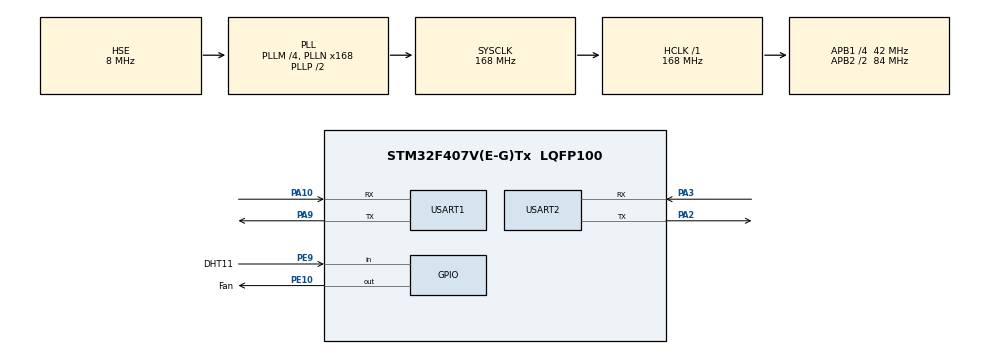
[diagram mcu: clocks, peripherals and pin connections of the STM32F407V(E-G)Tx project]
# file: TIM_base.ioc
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Dma.Request0=USART1_TX
Dma.Request1=USART2_TX
Dma.USART1_TX.0.Direction=DMA_MEMORY_TO_PERIPH
Dma.USART1_TX.0.FIFOMode=DMA_FIFOMODE_DISABLE
Dma.USART1_TX.0.Instance=DMA2_Stream7
Dma.USART1_TX.0.MemDataAlignment=DMA_MDATAALIGN_BYTE
Dma.USART1_TX.0.MemInc=DMA_MINC_ENABLE
Dma.USART1_TX.0.Mode=DMA_NORMAL
Dma.USART1_TX.0.PeriphDataAlignment=DMA_PDATAALIGN_BYTE
Dma.USART1_TX.0.PeriphInc=DMA_PINC_DISABLE
Dma.USART1_TX.0.Priority=DMA_PRIORITY_LOW
Dma.USART2_TX.1.Direction=DMA_MEMORY_TO_PERIPH
Dma.USART2_TX.1.FIFOMode=DMA_FIFOMODE_DISABLE
Dma.USART2_TX.1.Instance=DMA1_Stream6
Dma.USART2_TX.1.MemDataAlignment=DMA_MDATAALIGN_BYTE
Dma.USART2_TX.1.MemInc=DMA_MINC_ENABLE
Dma.USART2_TX.1.Mode=DMA_NORMAL
Dma.USART2_TX.1.PeriphDataAlignment=DMA_PDATAALIGN_BYTE
Dma.USART2_TX.1.PeriphInc=DMA_PINC_DISABLE
Dma.USART2_TX.1.Priority=DMA_PRIORITY_LOW
FREERTOS.BinarySemaphores01=uart1TxSem,Dynamic,NULL,Available;uart2TxSem,Dynamic,NULL,Available
FREERTOS.Tasks01=defaultTask,24,128,StartDefaultTask,Default,NULL,Dynamic,NULL,NULL;dht11Task,24,128,StartDht11Task,Default,NULL,Dynamic,NULL,NULL;fanTask,24,128,StartFanTask,Default,NULL,Dynamic,NULL,NULL
Mcu.Family=STM32F4
Mcu.Name=STM32F407V(E-G)Tx
Mcu.Package=LQFP100
NVIC.DMA1_Stream6_IRQn=true\:5\:0\:false\:false\:true\:true\:false\:true\:true
NVIC.DMA2_Stream7_IRQn=true\:5\:0\:false\:false\:true\:true\:false\:true\:true
NVIC.PriorityGroup=NVIC_PRIORITYGROUP_4
NVIC.TIM6_DAC_IRQn=true\:15\:0\:false\:false\:true\:false\:false\:true\:true
NVIC.TimeBase=TIM6_DAC_IRQn
NVIC.TimeBaseIP=TIM6
NVIC.USART1_IRQn=true\:5\:0\:false\:false\:true\:true\:true\:true\:true
NVIC.USART2_IRQn=true\:5\:0\:false\:false\:true\:true\:true\:true\:true
PA10.Mode=Asynchronous
PA10.Signal=USART1_RX
PA13.Mode=Serial_Wire
PA13.Signal=SYS_JTMS-SWDIO
PA14.Mode=Serial_Wire
PA14.Signal=SYS_JTCK-SWCLK
PA2.Mode=Asynchronous
PA2.Signal=USART2_TX
PA3.Mode=Asynchronous
PA3.Signal=USART2_RX
PA9.Mode=Asynchronous
PA9.Signal=USART1_TX
PE10.GPIO_Label=Fan
PE10.GPIO_Speed=GPIO_SPEED_FREQ_HIGH
PE10.Signal=GPIO_Output
PE9.GPIO_Label=DHT11
PE9.GPIO_PuPd=GPIO_PULLUP
PE9.Signal=GPIO_Input
PH0-OSC_IN.Mode=HSE-External-Oscillator
PH0-OSC_IN.Signal=RCC_OSC_IN
PH1-OSC_OUT.Mode=HSE-External-Oscillator
PH1-OSC_OUT.Signal=RCC_OSC_OUT
ProjectManager.HeapSize=0x200
ProjectManager.StackSize=0x400
ProjectManager.TargetToolchain=MDK-ARM V5.32
RCC.48MHZClocksFreq_Value=84000000
RCC.AHBFreq_Value=168000000
RCC.APB1CLKDivider=RCC_HCLK_DIV4
RCC.APB1Freq_Value=42000000
RCC.APB1TimFreq_Value=84000000
RCC.APB2CLKDivider=RCC_HCLK_DIV2
RCC.APB2Freq_Value=84000000
RCC.APB2TimFreq_Value=168000000
RCC.CortexFreq_Value=168000000
RCC.HCLKFreq_Value=168000000
RCC.HSE_VALUE=8000000
RCC.HSI_VALUE=16000000
RCC.LSE_VALUE=32768
RCC.PLLM=4
RCC.PLLN=168
RCC.PLLSourceVirtual=RCC_PLLSOURCE_HSE
RCC.SYSCLKFreq_VALUE=168000000
RCC.SYSCLKSource=RCC_SYSCLKSOURCE_PLLCLK
RCC.VCOOutputFreq_Value=336000000
TIM7.AutoReloadPreload=TIM_AUTORELOAD_PRELOAD_ENABLE
TIM7.Period=65535-1
TIM7.Prescaler=84-1
USART1.VirtualMode=VM_ASYNC
USART2.VirtualMode=VM_ASYNC
VP_FREERTOS_VS_CMSIS_V2.Mode=CMSIS_V2
VP_SYS_VS_tim6.Mode=TIM6
VP_TIM7_VS_ClockSourceINT.Mode=Enable_Timer
board=custom

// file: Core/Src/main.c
/* USER CODE BEGIN Header */
/**
  ******************************************************************************
  * @file           : main.c
  * @brief          : Main program body
  ******************************************************************************
  * @attention
  *
  * Copyright (c) 2026 STMicroelectronics.
  * All rights reserved.
  *
  * This software is licensed under terms that can be found in the LICENSE file
  * in the root directory of this software component.
  * If no LICENSE file comes with this software, it is provided AS-IS.
  *
  ******************************************************************************
  */
/* USER CODE END Header */
#include "main.h"
#include "cmsis_os.h"
#include "dma.h"
#include "tim.h"
#include "usart.h"
#include "gpio.h"

/* USER CODE BEGIN Includes */
#include <string.h>
#include <stdio.h>
#include "DHT11.h"
#include "Fan.h"
#include "print.h"
#include "protocol.h"
/* USER CODE END Includes */

/* USER CODE BEGIN PV */
extern osSemaphoreId_t uart1TxSemHandle;
extern osSemaphoreId_t uart2TxSemHandle;
uint8_t rx_byte;
static uint8_t rx_step = 0;
static uint8_t cmd_val = 0;
Fan_st Fan_state=fan_off;
/* USER CODE END PV */

void SystemClock_Config(void);
void MX_FREERTOS_Init(void);

/* USER CODE BEGIN 0 */
void Process_ESP32_Command(uint8_t data) {
    switch(rx_step) {
        case 0:
            if(data == 0x55) rx_step = 1;
            break;

        case 1:
            if(data == 0xAA) rx_step = 2;
            else rx_step = 0;
            break;

        case 2:
            cmd_val = data;
            rx_step = 3;
            break;

        case 3:
            if(data == 0xFF) {

                if(cmd_val == 0x01) {
                    Fan_On();
                }
                else if(cmd_val == 0x00) {
                    Fan_Off();
                }
            }
            rx_step = 0;
            break;
    }
}
/* USER CODE END 0 */

int main(void)
{

  /* MCU Configuration--------------------------------------------------------*/

  /* Reset of all peripherals, Initializes the Flash interface and the Systick. */
  HAL_Init();

  /* Configure the system clock */
  SystemClock_Config();

  /* Initialize all configured peripherals */
  MX_GPIO_Init();
  MX_DMA_Init();
  MX_TIM7_Init();
  MX_USART1_UART_Init();
  MX_USART2_UART_Init();
  /* USER CODE BEGIN 2 */
	HAL_TIM_Base_Start(&htim7);
	Fan_Off();
	HAL_UART_Receive_IT(&huart2, &rx_byte, 1);
  /* USER CODE END 2 */

  /* Init scheduler */
  osKernelInitialize();  /* Call init function for freertos objects (in cmsis_os2.c) */
  MX_FREERTOS_Init();

  /* Start scheduler */
  osKernelStart();

  /* We should never get here as control is now taken by the scheduler */

  /* Infinite loop */
  while (1)
  {

  }
}

void SystemClock_Config(void)
{
  RCC_OscInitTypeDef RCC_OscInitStruct = {0};
  RCC_ClkInitTypeDef RCC_ClkInitStruct = {0};

  /** Configure the main internal regulator output voltage
  */
  __HAL_RCC_PWR_CLK_ENABLE();
  __HAL_PWR_VOLTAGESCALING_CONFIG(PWR_REGULATOR_VOLTAGE_SCALE1);

  /** Initializes the RCC Oscillators according to the specified parameters
  * in the RCC_OscInitTypeDef structure.
  */
  RCC_OscInitStruct.OscillatorType = RCC_OSCILLATORTYPE_HSE;
  RCC_OscInitStruct.HSEState = RCC_HSE_ON;
  RCC_OscInitStruct.PLL.PLLState = RCC_PLL_ON;
  RCC_OscInitStruct.PLL.PLLSource = RCC_PLLSOURCE_HSE;
  RCC_OscInitStruct.PLL.PLLM = 4;
  RCC_OscInitStruct.PLL.PLLN = 168;
  RCC_OscInitStruct.PLL.PLLP = RCC_PLLP_DIV2;
  RCC_OscInitStruct.PLL.PLLQ = 4;
  if (HAL_RCC_OscConfig(&RCC_OscInitStruct) != HAL_OK)
  {
    Error_Handler();
  }

  /** Initializes the CPU, AHB and APB buses clocks
  */
  RCC_ClkInitStruct.ClockType = RCC_CLOCKTYPE_HCLK|RCC_CLOCKTYPE_SYSCLK
                              |RCC_CLOCKTYPE_PCLK1|RCC_CLOCKTYPE_PCLK2;
  RCC_ClkInitStruct.SYSCLKSource = RCC_SYSCLKSOURCE_PLLCLK;
  RCC_ClkInitStruct.AHBCLKDivider = RCC_SYSCLK_DIV1;
  RCC_ClkInitStruct.APB1CLKDivider = RCC_HCLK_DIV4;
  RCC_ClkInitStruct.APB2CLKDivider = RCC_HCLK_DIV2;

  if (HAL_RCC_ClockConfig(&RCC_ClkInitStruct, FLASH_LATENCY_5) != HAL_OK)
  {
    Error_Handler();
  }
}

/* USER CODE BEGIN 4 */
void HAL_UART_TxCpltCallback(UART_HandleTypeDef *huart)
{
	if(huart->Instance==USART1)
	{
		osSemaphoreRelease(uart1TxSemHandle);
	}
	else if(huart->Instance==USART2)
	{
		osSemaphoreRelease(uart2TxSemHandle);
	}
}

void HAL_UART_RxCpltCallback(UART_HandleTypeDef *huart)
{
	if(huart->Instance==USART2)
	{
		Process_ESP32_Command(rx_byte);
		HAL_UART_Receive_IT(&huart2, &rx_byte, 1);
	}
}
/* USER CODE END 4 */

void HAL_TIM_PeriodElapsedCallback(TIM_HandleTypeDef *htim)
{
  if (htim->Instance == TIM6)
  {
    HAL_IncTick();
  }
}

void Error_Handler(void)
{
  __disable_irq();
  while (1)
  {
  }
}

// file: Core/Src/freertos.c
/* USER CODE BEGIN Header */
/**
  ******************************************************************************
  * File Name          : freertos.c
  * Description        : Code for freertos applications
  ******************************************************************************
  * @attention
  *
  * Copyright (c) 2026 STMicroelectronics.
  * All rights reserved.
  *
  * This software is licensed under terms that can be found in the LICENSE file
  * in the root directory of this software component.
  * If no LICENSE file comes with this software, it is provided AS-IS.
  *
  ******************************************************************************
  */
/* USER CODE END Header */

#include "FreeRTOS.h"
#include "task.h"
#include "main.h"
#include "cmsis_os.h"

/* USER CODE BEGIN Includes */
#include "DHT11.h"
#include "Fan.h"
#include "print.h"
#include <string.h>
#include "protocol.h"
/* USER CODE END Includes */

/* USER CODE BEGIN Variables */
extern Fan_st Fan_state;
/* USER CODE END Variables */
/* Definitions for defaultTask */
osThreadId_t defaultTaskHandle;
const osThreadAttr_t defaultTask_attributes = {
  .name = "defaultTask",
  .stack_size = 128 * 4,
  .priority = (osPriority_t) osPriorityNormal,
};
/* Definitions for dht11Task */
osThreadId_t dht11TaskHandle;
const osThreadAttr_t dht11Task_attributes = {
  .name = "dht11Task",
  .stack_size = 128 * 4,
  .priority = (osPriority_t) osPriorityNormal,
};
/* Definitions for fanTask */
osThreadId_t fanTaskHandle;
const osThreadAttr_t fanTask_attributes = {
  .name = "fanTask",
  .stack_size = 128 * 4,
  .priority = (osPriority_t) osPriorityNormal,
};
/* Definitions for uart1TxSem */
osSemaphoreId_t uart1TxSemHandle;
const osSemaphoreAttr_t uart1TxSem_attributes = {
  .name = "uart1TxSem"
};
/* Definitions for uart2TxSem */
osSemaphoreId_t uart2TxSemHandle;
const osSemaphoreAttr_t uart2TxSem_attributes = {
  .name = "uart2TxSem"
};

void StartDefaultTask(void *argument);
void StartDht11Task(void *argument);
void StartFanTask(void *argument);

void MX_FREERTOS_Init(void); /* (MISRA C 2004 rule 8.1) */

void MX_FREERTOS_Init(void) {

  /* Create the semaphores(s) */
  /* creation of uart1TxSem */
  uart1TxSemHandle = osSemaphoreNew(1, 1, &uart1TxSem_attributes);

  /* creation of uart2TxSem */
  uart2TxSemHandle = osSemaphoreNew(1, 1, &uart2TxSem_attributes);

  /* Create the thread(s) */
  /* creation of defaultTask */
  defaultTaskHandle = osThreadNew(StartDefaultTask, NULL, &defaultTask_attributes);

  /* creation of dht11Task */
  dht11TaskHandle = osThreadNew(StartDht11Task, NULL, &dht11Task_attributes);

  /* creation of fanTask */
  fanTaskHandle = osThreadNew(StartFanTask, NULL, &fanTask_attributes);

}

void StartDefaultTask(void *argument)
{
  /* USER CODE BEGIN StartDefaultTask */
	uint8_t MESSAGE[] = "Task Started...\r\n";
	print_pc(MESSAGE,sizeof(MESSAGE)-1);
  /* Infinite loop */
  for(;;)
  {
    osDelay(1);
  }
  /* USER CODE END StartDefaultTask */
}

void StartDht11Task(void *argument)
{
  /* USER CODE BEGIN StartDht11Task */
	uint8_t temperature = 0;
	uint8_t temperature_deci=0;
	uint8_t humidity = 0;
	uint8_t humidity_deci=0;
	uint8_t status=0;
	uint8_t tx_buf[50];
	uint16_t len=0;
  /* Infinite loop */
  for(;;)
  {
		osDelay(2500);
		status = DHT11_ReadData(&temperature, &temperature_deci,&humidity,&humidity_deci);

    if(status == 0)
    {
				Send_Sensor_Data(temperature,temperature_deci,humidity,humidity_deci,Fan_state);
    }
    else if(status == 1)
    {
				snprintf((char*)tx_buf,sizeof(tx_buf),"DHT11 Not Response!\r\n");
				len=strlen((char*)tx_buf);
        print_pc(tx_buf,len);
    }
    else if(status == 2)
    {
				snprintf((char*)tx_buf,sizeof(tx_buf),"CheckSum Error!\r\n");
				len=strlen((char*)tx_buf);
        print_pc(tx_buf,len);
    }
  }
  /* USER CODE END StartDht11Task */
}

void StartFanTask(void *argument)
{
  for(;;)
  {
    osDelay(1);
  }
}
